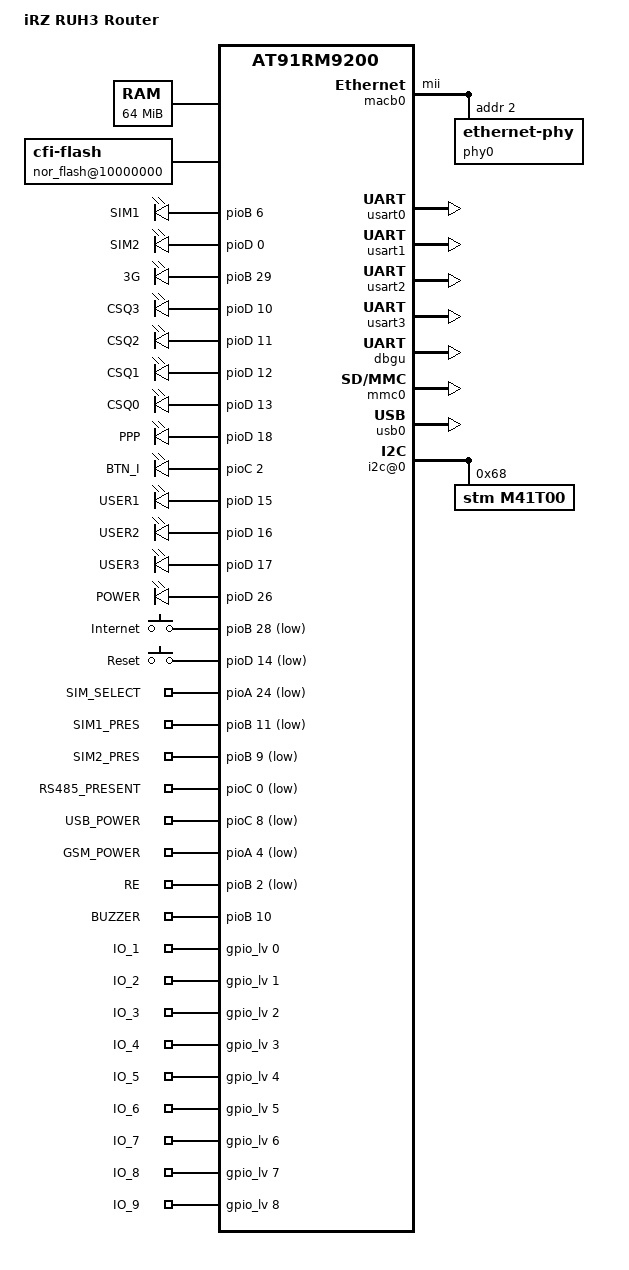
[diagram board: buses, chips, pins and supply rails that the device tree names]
/*
 * irz-ruh2b.dts - Device Tree file for irz ruh2b router board
 *
 *  Copyright (C) 2016 Nikita Nazarenko <nnazarenko@radiofid.com>
 *  based on 2012 Joachim Eastwood <manabian@gmail.com>
 *
 * Licensed under GPLv2 only
 */
/dts-v1/;
#include "at91rm9200.dtsi"

/ {
	model = "iRZ RUH3 Router";
	compatible = "irz,ruh3", "atmel,at91rm9200";

	chosen {
		stdout-path = "serial0:115200n8";
	};

	memory {
		reg = <0x20000000 0x4000000>;
	};

	clocks {
		slow_xtal {
			clock-frequency = <32768>;
		};

		main_xtal {
			clock-frequency = <18432000>;
		};
	};

	ahb {
		apb {

			macb0: ethernet@fffbc000 {
				compatible = "cdns,at91rm9200-emac";
				phy-mode = "mii";
				status = "okay";
				pinctrl-0 = <&pinctrl_macb_rmii_mii &pinctrl_macb_rmii>;
				phy0: ethernet-phy {
				    reg = <2>;
				};
			};

			usart0: serial@fffc0000 {
				pinctrl-0 =
						<&pinctrl_uart0>;
				status = "okay";
			};

			usart1: serial@fffc4000 {
				pinctrl-0 =
						<&pinctrl_uart1 >;
				status = "okay";
			};

			usart2: serial@fffc8000 {
				pinctrl-0 =
						<&pinctrl_uart2>;
				status = "okay";
				linux,rs485-enabled-at-boot-time;
			};

			usart3: serial@fffcc000 {
				pinctrl-0 =
						<&pinctrl_uart3>;
				status = "okay";
			};

			dbgu: serial@fffff200 {
				pinctrl-0 = <&pinctrl_dbgu>;
				status = "okay";
			};

			rtc: rtc@fffffe00 {
				status = "disabled";
			};

			mmc0: mmc@fffb4000 {
				status = "okay";
				pinctrl-names = "default";
				pinctrl-0 = <&pinctrl_mmc0_clk &pinctrl_mmc0_slot0_cmd_dat0 &pinctrl_mmc0_slot0_dat1_3>;
				slot@0 {
				    reg = <0>;
				    bus-width = <1>;
				    cd-gpios = <&pioB 7 0>;
				    cd-inverted;
				};
			};
		};

		usb0: ohci@00300000 {
			num-ports = <2>;
			status = "okay";
		};

		nor_flash@10000000 {
			compatible = "cfi-flash";
			reg = <0x10000000 0x800000>;
			linux,mtd-name = "physmap-flash.0";
			bank-width = <2>;
			#address-cells = <1>;
			#size-cells = <1>;

			boot@0 {
				label = "boot";
				reg = <0x00000 0x4000>;
			};
			settings@4000 {
				label = "settings";
				reg = <0x4000 0x8000>;
			};
			hwinfo@c000 {
				label = "hwinfo";
				reg = <0xC000 0x2000>;
			};
			nv@e000 {
				label = "nv";
				reg = <0xE000 0x2000>;
			};
			uboot@10000 {
				label = "u-boot";
				reg = <0x10000 0x10000>;
			};
			kernel@20000 {
				label = "kernel";
				reg = <0x20000 0x160000>;
			};
			rwfs@170000  {
				label = "rwfs";
				reg = <0x180000 0x180000>;
			};
			root@2f0000  {
				label = "root";
				reg = <0x300000 0x500000>;
			};
		};
	};

	leds {
		compatible = "gpio-leds";

		sim1 {
			label = "SIM1";
			gpios = <&pioB 6 GPIO_ACTIVE_HIGH>;
			linux,default-trigger = "none";
		};

		sim2 {
			label = "SIM2";
			gpios = <&pioD 0 GPIO_ACTIVE_HIGH>;
			linux,default-trigger = "none";
		};

		umts {
			label = "3G";
			gpios = <&pioB 29 GPIO_ACTIVE_HIGH>;
			linux,default-trigger = "none";
		};

		csq3 {
			label = "CSQ3";
			gpios = <&pioD 10 GPIO_ACTIVE_HIGH>;
			linux,default-trigger = "none";
		};

		csq2 {
			label = "CSQ2";
			gpios = <&pioD 11 GPIO_ACTIVE_HIGH>;
			linux,default-trigger = "none";
		};

		csq1 {
			label = "CSQ1";
			gpios = <&pioD 12 GPIO_ACTIVE_HIGH>;
			linux,default-trigger = "none";
		};

		csq0 {
			label = "CSQ0";
			gpios = <&pioD 13 GPIO_ACTIVE_HIGH>;
			linux,default-trigger = "none";
		};

		PPP {
			label = "PPP";
			gpios = <&pioD 18 GPIO_ACTIVE_HIGH>;
			linux,default-trigger = "none";
		};

		btn_i {
			label = "BTN_I";
			gpios = <&pioC 2 GPIO_ACTIVE_HIGH>;
			linux,default-trigger = "none";
		};

		user1 {
			label = "USER1";
			gpios = <&pioD 15 GPIO_ACTIVE_HIGH>;
			linux,default-trigger = "none";
		};
		user2 {
			label = "USER2";
			gpios = <&pioD 16 GPIO_ACTIVE_HIGH>;
			linux,default-trigger = "none";
		};
		user3 {
			label = "USER3";
			gpios = <&pioD 17 GPIO_ACTIVE_HIGH>;
			linux,default-trigger = "none";
		};

		power {
			label = "POWER";
			gpios = <&pioD 26 GPIO_ACTIVE_HIGH>;
			linux,default-trigger = "timer";
		};
	};
	gpio_keys {
		compatible = "gpio-keys";
		#address-cells = <1>;
		#size-cells = <0>;
		autorepeat;

		USER1 {
			label = "Internet";
			linux,code = < 0x100 >;
			gpios = <&pioB 28 GPIO_ACTIVE_LOW>;
		};
		USER2 {
			label = "Reset";
			linux,code = < 0x101 >;
			gpios = <&pioD 14 GPIO_ACTIVE_LOW>;
		};
	};
	gpio_lv: gpio-lv@0{
		pinctrl-names = "default";
		compatible = "gpio-lv";
		#gpio-cells = <2>;
		gpio-controller;
		io1 {
			input_pin       = <&pioD 4 0x0>;
			direction_pin   = <&pioD 3 0x0>;
		};
		io2 {
			input_pin       = <&pioD 6 0x0>;
			direction_pin   = <&pioD 5 0x0>;
		};
		io3 {
			input_pin       = <&pioD 8 0x0>;
			direction_pin   = <&pioD 7 0x0>;
		};
		io4 {
			input_pin       = <&pioD 10 0x0>;
			direction_pin   = <&pioD 9 0x0>;
		};
		io5 {
			input_pin       = <&pioD 12 0x0>;
			direction_pin   = <&pioD 11 0x0>;
		};
		io6 {
			input_pin       = <&pioD 20 0x0>;
			direction_pin   = <&pioD 19 0x0>;
		};
		io7 {
			input_pin       = <&pioD 22 0x0>;
			direction_pin   = <&pioD 21 0x0>;
		};
		io8 {
			input_pin       = <&pioD 27 0x0>;
			direction_pin   = <&pioD 23 0x0>;
		};
		io9 {
			input_pin       = <&pioC 15 0x0>;
			direction_pin   = <&pioC 14 0x0>;
		};
	};
	gpios {
		compatible = "gpio-export";
		simsel {
		    gpios = <&pioA 24 GPIO_ACTIVE_LOW>;
		    gpio-export,name  = "SIM_SELECT";
		    gpio-export,output = <0>;
		};
		SIM1_PRES {
		    gpios = <&pioB 11 GPIO_ACTIVE_LOW>;
		    gpio-export,name  = "SIM1_PRES";
		};

		SIM2_PRES {
		    gpios = <&pioB 9 GPIO_ACTIVE_LOW>;
		    gpio-export,name  = "SIM2_PRES";
		};

		RS485_PRES {
		    gpios = <&pioC 0 GPIO_ACTIVE_LOW>;
		    gpio-export,name  = "RS485_PRESENT";
		};

		USB_POWER {
		    gpios = <&pioC 8 GPIO_ACTIVE_LOW>;
		    gpio-export,name  = "USB_POWER";
		    gpio-export,output = <1>;
		};
		GSM_POWER {
		    gpios = <&pioA 4 GPIO_ACTIVE_LOW>;
		    gpio-export,name  = "GSM_POWER";
		    gpio-export,output = <0>;
		};
		RE {
		    gpios = <&pioB 2 GPIO_ACTIVE_LOW>;
		    gpio-export,name  = "RE";
		    gpio-export,output = <1>;
		};
		BUZZER {
		    gpios = <&pioB 10 0>;
		    gpio-export,name  = "BUZZER";
		    gpio-export,output = <0>;
		};
		IO_1 {
		    gpios = <&gpio_lv 0 0>;
		    gpio-export,name  = "IO_1";
		    gpio-export,direction_may_change;
		};
		IO_2 {
		    gpios = <&gpio_lv 1 0>;
		    gpio-export,name  = "IO_2";
		    gpio-export,direction_may_change;
		};
		IO_3 {
		    gpios = <&gpio_lv 2 0>;
		    gpio-export,name  = "IO_3";
		    gpio-export,direction_may_change;
		};
		IO_4 {
		    gpios = <&gpio_lv 3 0>;
		    gpio-export,name  = "IO_4";
		    gpio-export,direction_may_change;
		};
		IO_5 {
		    gpios = <&gpio_lv 4 0>;
		    gpio-export,name  = "IO_5";
		    gpio-export,direction_may_change;
		};
		IO_6 {
		    gpios = <&gpio_lv 5 0>;
		    gpio-export,name  = "IO_6";
		    gpio-export,direction_may_change;
		};
		IO_7 {
		    gpios = <&gpio_lv 6 0>;
		    gpio-export,name  = "IO_7";
		    gpio-export,direction_may_change;
		};
		IO_8 {
		    gpios = <&gpio_lv 7 0>;
		    gpio-export,name  = "IO_8";
		    gpio-export,direction_may_change;
		};
		IO_9 {
		    gpios = <&gpio_lv 8 0>;
		    gpio-export,name  = "IO_9";
		    gpio-export,direction_may_change;
		};
	};
	i2c@0 {	
		status = "okay";
		m41t00: m41t00@68 {
		compatible = "stm,m41t00";
		reg = < 0x68 >;
		};
	};
};

